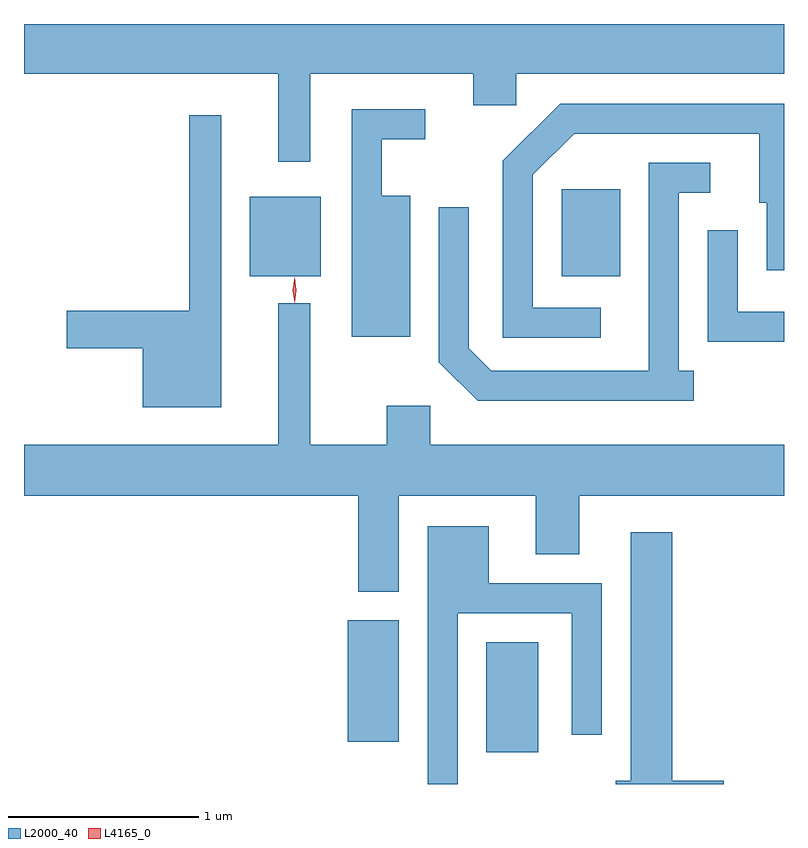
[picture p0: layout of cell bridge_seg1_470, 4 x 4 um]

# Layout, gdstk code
import gdstk
lib = gdstk.Library(unit=1e-6, precision=1e-09)
def R(c, l, rs):  # rectangles x0, y0, x1, y1
    for r in rs: c.add(gdstk.rectangle(r[:2], r[2:], *l))
def P(c, l, *ps):  # polygons
    for p in ps: c.add(gdstk.Polygon(p, *l))
L2000_40 = (2000, 40)
L4165_0 = (4165, 0)

bridge_seg1_470 = lib.new_cell('bridge_seg1_470')
R(bridge_seg1_470, L2000_40, [(218.216,873.806,218.489,874.384), (217.486,873.861,217.754,874.499), (216.971,876.311,217.344,876.729), (218.611,876.311,218.919,876.769)])
P(bridge_seg1_470, L2000_40, [(217.289,877.376),(218.146,877.376),(218.146,877.211),(218.374,877.211),(218.374,877.376),(219.782,877.376),(219.782,877.638),(215.782,877.638),(215.782,877.376),(217.121,877.376),(217.121,876.913),(217.289,876.913)],
  [(218.818,876.144),(218.459,876.144),(218.459,876.844),(218.677,877.061),(219.651,877.061),(219.651,876.696),(219.691,876.696),(219.691,876.341),(219.782,876.341),(219.782,877.219),(218.604,877.219),(218.301,876.917),(218.301,875.986),(218.818,875.986)],
  [(217.814,876.734),(217.664,876.734),(217.664,877.031),(217.893,877.031),(217.893,877.189),(217.506,877.189),(217.506,875.991),(217.814,875.991)],
  [(216.819,877.158),(216.651,877.158),(216.651,876.129),(216.006,876.129),(216.006,875.931),(216.406,875.931),(216.406,875.621),(216.819,875.621)],
  [(219.308,875.814),(219.229,875.814),(219.229,876.751),(219.393,876.751),(219.393,876.909),(219.071,876.909),(219.071,875.814),(218.242,875.814),(218.124,875.932),(218.124,876.673),(217.966,876.673),(217.966,875.859),(218.169,875.656),(219.308,875.656)],
  [(219.782,876.124),(219.539,876.124),(219.539,876.553),(219.381,876.553),(219.381,875.966),(219.782,875.966)],
  [(217.754,875.156),(218.476,875.156),(218.476,874.846),(218.704,874.846),(218.704,875.156),(219.782,875.156),(219.782,875.424),(217.919,875.424),(217.919,875.629),(217.691,875.629),(217.691,875.424),(217.289,875.424),(217.289,876.168),(217.121,876.168),(217.121,875.424),(215.782,875.424),(215.782,875.156),(217.541,875.156),(217.541,874.651),(217.754,874.651)],
  [(218.064,874.536),(218.666,874.536),(218.666,873.898),(218.824,873.898),(218.824,874.694),(218.229,874.694),(218.229,874.994),(217.906,874.994),(217.906,873.638),(218.064,873.638)],
  [(219.464,873.654),(219.194,873.654),(219.194,874.964),(218.976,874.964),(218.976,873.654),(218.896,873.654),(218.896,873.638),(219.464,873.638)])
P(bridge_seg1_470, L4165_0, [(217.206,876.173),(217.206,876.173),(217.196,876.237),(217.206,876.301),(217.206,876.302),(217.207,876.301),(217.216,876.237),(217.207,876.173)],
  [(217.206,876.169),(217.206,876.17),(217.196,876.238),(217.206,876.306),(217.206,876.306),(217.207,876.306),(217.216,876.238),(217.207,876.17)])

lib.write_gds('bridge_seg1_470.gds')
